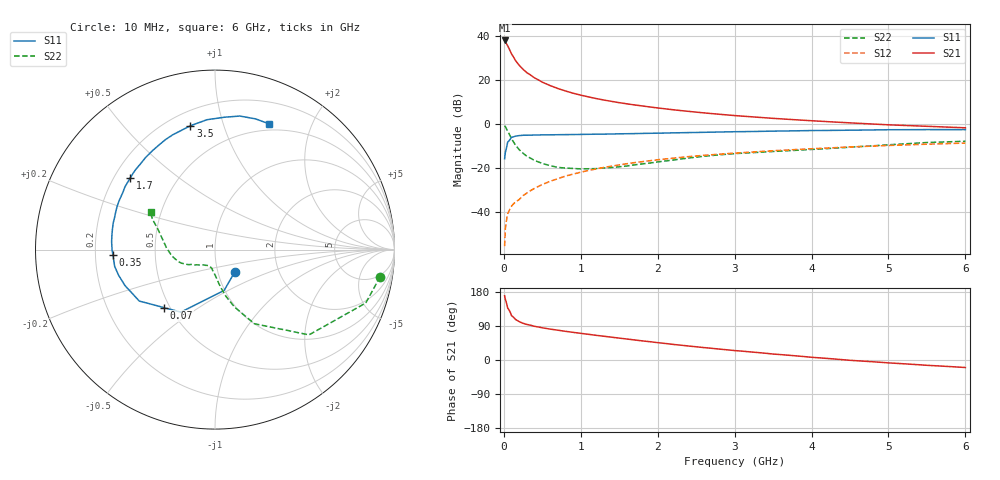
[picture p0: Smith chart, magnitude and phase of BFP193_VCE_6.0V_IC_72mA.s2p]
! (c) 2017  Infineon Technologies AG, Munich
! Infineon Technologies  Discrete & RF Semiconductors
! BFP193
! VCE =  6.0 V,  IC =  72 mA
! Common Emitter S-Parameters:  Jan 2017
# GHz  S  MA  R  50
!  f  S11  S21  S12  S22
! GHz  MAG  ANG  MAG  ANG  MAG  ANG  MAG  ANG
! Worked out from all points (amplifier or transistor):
!   77 points, 10 MHz to 6 GHz, reference 50 ohm
!   highest |S21| = 38.2 dB at 10 MHz (marker M1)
!   |S21| within 3 dB of that: start of sweep to 58.26 MHz
!   unconditionally stable (mu >= 1): 475.7 MHz to 2.341 GHz
!   at 130 MHz: K = 0.68, MSG = 33.2 dB, |S12| = -36.0 dB
!   at 2.2 GHz: K = 1.01, MAG = 10.5 dB, |S12| = -15.4 dB
!   at 6 GHz: K = 0.92, MSG = 3.5 dB, |S12| = -8.5 dB
!   S11 on the Smith chart (normalised r, x): 10 MHz: 1.21, -0.30; 70 MHz: 0.47, -0.37; 350 MHz: 0.27, -0.02; 1.7 GHz: 0.27, +0.34; 3.5 GHz: 0.29, +0.78; 6 GHz: 0.43, +1.43
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0.01  0.1655 -47.6  81.2 169.4  0.0017 84.6  0.9325 -9.3
0.02  0.233 -77.4  78.37 159.9  0.0043 79.5  0.8912 -19.5
0.05  0.3967 -118.6  61.36 137.1  0.0092 63.1  0.707 -42.2
0.07  0.4297 -131.1  52.2 131.1  0.011 61.7  0.6036 -48.2
0.1  0.5101 -145.8  40.15 117.1  0.0138 60.2  0.4677 -62.0
0.15  0.5403 -158.3  28.64 107.3  0.0172 62.5  0.3385 -71.2
0.2  0.5563 -165.3  22.09 101.2  0.0196 64.7  0.2664 -76.9
0.25  0.5668 -170.5  17.9 96.8  0.024 66.1  0.2206 -80.6
0.3  0.5674 -174.2  15 93.8  0.0276 67.7  0.1886 -83.7
0.35  0.5697 -177.1  13.19 91.6  0.0314 69.0  0.1696 -85.7
0.4  0.5735 -179.9  11.4 88.8  0.0352 70.0  0.1508 -88.2
0.5  0.5777 175.6  9.145 85.0  0.0429 70.2  0.1295 -92.5
0.6  0.5801 171.8  7.666 81.6  0.0507 70.1  0.1154 -96.8
0.8  0.5862 165.2  5.771 75.7  0.0668 70.2  0.1016 -103.3
1.1  0.5957 156.4  4.224 67.8  0.0896 67.6  0.098 -114.0
1.7  0.6181 139.9  2.771 52.9  0.1354 60.9  0.1204 -134.2
2.1  0.6364 129.4  2.259 43.6  0.1636 55.7  0.1472 -145.1
3.1  0.6847 108.4  1.543 23.3  0.228 42.9  0.2212 -164.5
3.5  0.7037 101.2  1.373 15.7  0.2516 38.3  0.2424 -171.5
4.1  0.7269 92.0  1.185 5.7  0.2848 31.0  0.2753 176.0
5.1  0.7571 78.2  0.963 -8.8  0.3362 19.3  0.3519 158.3
6  0.7626 66.9  0.837 -19.8  0.3768 9.1  0.414 149.9
